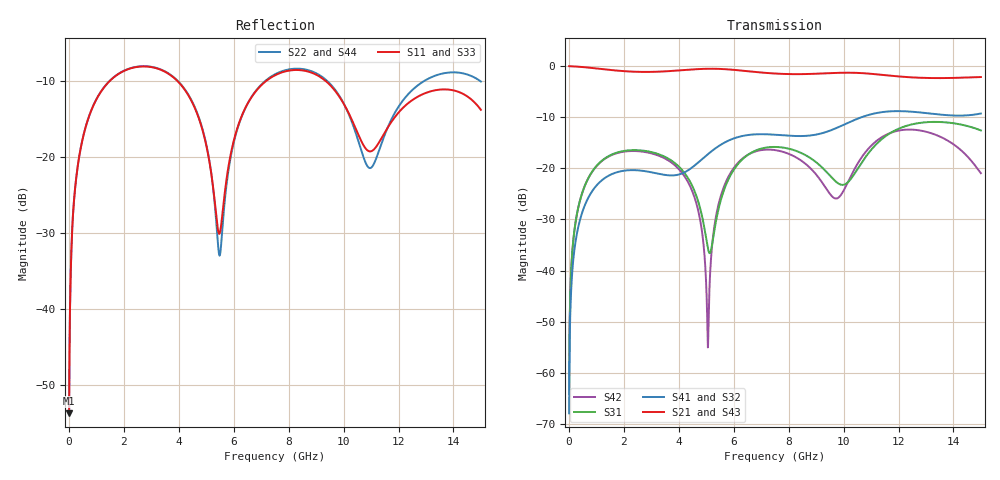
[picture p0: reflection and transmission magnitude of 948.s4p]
! Created with skrf 1.8.0 (http://scikit-rf.org).
# GHz S RI R 50.0
!freq ReS11 ImS11 ReS12 ImS12 ReS13 ImS13
! ReS14 ImS14
! ReS21 ImS21 ReS22 ImS22 ReS23 ImS23
! ReS24 ImS24
! ReS31 ImS31 ReS32 ImS32 ReS33 ImS33
! ReS34 ImS34
! ReS41 ImS41 ReS42 ImS42 ReS43 ImS43
! ReS44 ImS44
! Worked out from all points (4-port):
!   2499 points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, 5 MHz to 15 GHz, reference 50 ohm
!   strongest paths, dB at 5 MHz, 3.476 GHz, 7.19 GHz, 11.1 GHz, 15 GHz:
!     S21: 0.0, -1.0, -1.3, -1.6, -2.1
!     S43: 0.0, -1.0, -1.3, -1.6, -2.1
!     S41: -67.9, -21.3, -13.3, -9.3, -9.3
!     S32: -67.9, -21.3, -13.3, -9.3, -9.3
!     S31: -64.1, -17.7, -15.9, -15.8, -12.6
!     S42: -64.1, -18.0, -16.3, -15.1, -20.9
!   lowest |S11| = -53.7 dB at 5 MHz (marker M1), VSWR 1.00, Z = 50.2 + j0.125 ohm
!   |S11| at or under -10 dB: start of sweep to 1.476 GHz; 3.955 GHz to 7.172 GHz (3.217 GHz wide, 57.8 % of centre); 9.354 GHz to end of sweep
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0.005  0.00164 0.00125  0.9983 -0.00319  8.14e-05 0.000622  -7.92e-05 -0.000394
       0.9983 -0.00319  0.00164 0.00125  -7.92e-05 -0.000394  8.13e-05 0.000622
       8.14e-05 0.000622  -7.92e-05 -0.000394  0.00164 0.00125  0.9983 -0.00319
       -7.92e-05 -0.000394  8.13e-05 0.000622  0.9983 -0.00319  0.00164 0.00125
0.3126303  0.024 0.0823  0.9673 -0.1986  0.0108 0.0369  -0.00887 -0.0232
           0.9673 -0.1986  0.024 0.0823  -0.00886 -0.0232  0.0104 0.037
           0.0108 0.0369  -0.00886 -0.0232  0.024 0.0823  0.9673 -0.1986
           -0.00887 -0.0232  0.0104 0.037  0.9673 -0.1986  0.024 0.0823
1.569404  0.2743 0.1797  0.5413 -0.7352  0.1259 0.0539  -0.0879 -0.0051
          0.5413 -0.7352  0.2759 0.1786  -0.0878 -0.0052  0.1213 0.0602
          0.1259 0.0539  -0.0878 -0.0052  0.2743 0.1797  0.5413 -0.7352
          -0.0879 -0.0051  0.1213 0.0602  0.5413 -0.7352  0.2758 0.1786
5.058358  0.0534 -0.0919  -0.894 -0.2959  -0.0147 -0.00751  -0.0382 0.1322
          -0.894 -0.2959  0.0456 -0.0973  -0.0397 0.1317  0.00177 0.000104
          -0.0147 -0.00751  -0.0397 0.1317  0.0522 -0.0927  -0.894 -0.2959
          -0.0382 0.1322  0.00177 0.000104  -0.894 -0.2959  0.0471 -0.0973
5.92747  0.0624 0.0938  -0.9021 0.1938  0.0436 0.0787  0.0557 0.1846
         -0.9021 0.1938  0.054 0.0944  0.0537 0.1852  0.0493 0.0804
         0.0436 0.0787  0.0537 0.1852  0.0606 0.0942  -0.902 0.194
         0.0557 0.1846  0.0493 0.0804  -0.902 0.194  0.0558 0.0936
8.47228  0.3723 -0.0222  0.00791 0.8346  0.0975 -0.1014  0.2008 -0.0504
         0.00791 0.8346  0.3795 -0.0308  0.2011 -0.047  0.0963 -0.0688
         0.0975 -0.1014  0.2011 -0.047  0.3738 -0.0216  0.00854 0.834
         0.2008 -0.0504  0.0963 -0.0688  0.00854 0.834  0.3804 -0.0323
15  0.19 -0.0766  -0.3433 -0.7022  -0.0135 -0.2346  -0.2895 0.1857
    -0.3433 -0.7022  0.261 -0.1756  -0.2943 0.1755  0.0896 0.00237
    -0.0135 -0.2346  -0.2943 0.1755  0.186 -0.0818  -0.3467 -0.701
    -0.2895 0.1857  0.0896 0.00237  -0.3467 -0.701  0.259 -0.1737
